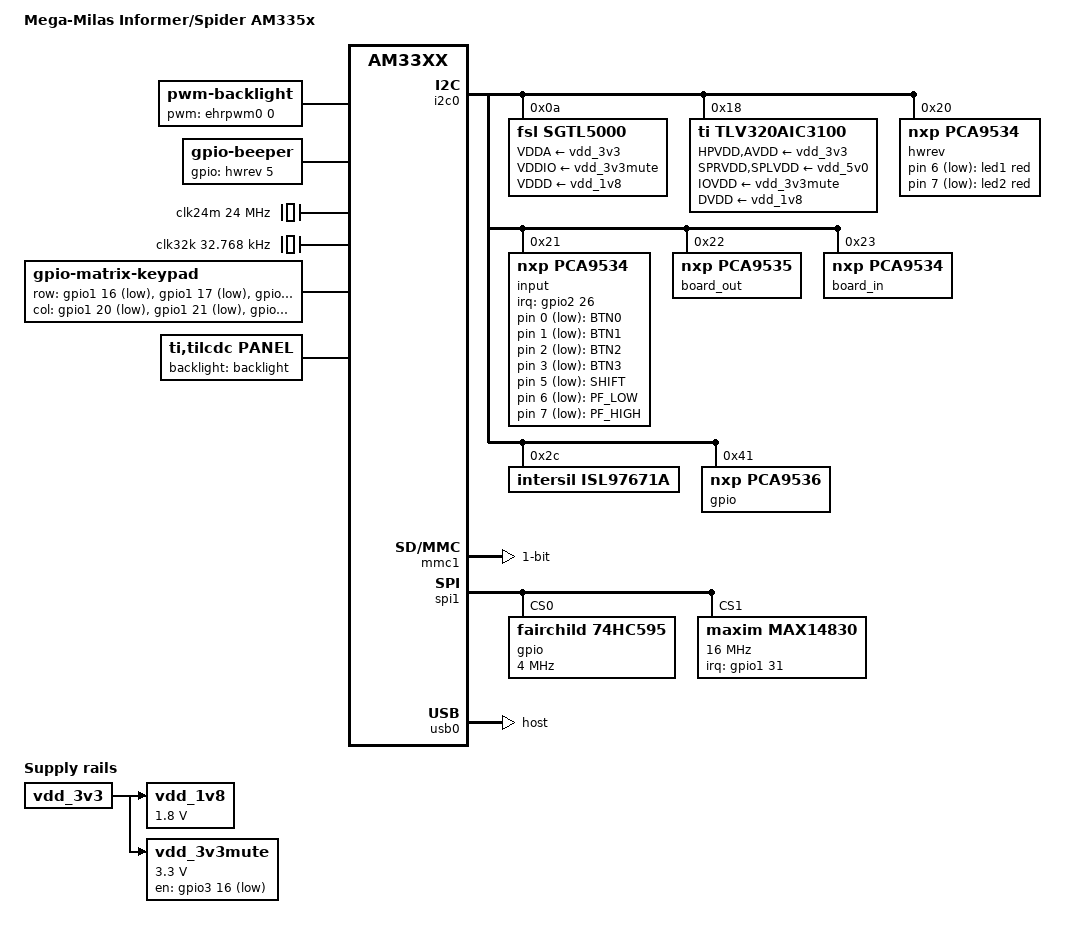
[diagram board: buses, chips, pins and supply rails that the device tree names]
#include <dt-bindings/sound/tlv320aic31xx.h>

/ {
	model = "Mega-Milas Informer/Spider AM335x";
	compatible = "milas,informer-am335x", "milas,spider-am335x",
		     "myir,myd-am335x", "myir,myc-am335x", "ti,am33xx";

	backlight: backlight {
		compatible = "pwm-backlight";
		pwms = <&ehrpwm0 0 100000 0>;
		brightness-levels = <0 255>;
		num-interpolated-steps = <16>;
		default-brightness-level = <0>;
	};

	beeper {
		compatible = "gpio-beeper";
		gpios = <&hwrev 5 GPIO_ACTIVE_HIGH>;
	};

	clk24m: clk24m {
		compatible = "fixed-clock";
		clock-frequency = <24000000>;

		#clock-cells = <0>;
	};

	clk32k: clk32k {
		compatible = "fixed-clock";
		clock-frequency = <32768>;

		#clock-cells = <0>;
	};

	gpio-keys {
		compatible = "gpio-keys";

		/* DOOR1 (SmallIA) */
		/* Call (TalkBox) */
		button@0 {
			label = "BTN0";
			linux,code = <0x0100>;
			linux,input-type = <EV_KEY>;
			gpios = <&input 0 GPIO_ACTIVE_LOW>;
		};

		/* DOOR2 (SmallIA) */
		button@1 {
			label = "BTN1";
			linux,code = <0x0101>;
			linux,input-type = <EV_KEY>;
			gpios = <&input 1 GPIO_ACTIVE_LOW>;
		};

		/* DOOR3 (SmallIA) */
		button@2 {
			label = "BTN2";
			linux,code = <0x0102>;
			linux,input-type = <EV_KEY>;
			gpios = <&input 2 GPIO_ACTIVE_LOW>;
		};

		/* REPEAT (SmallIA) */
		button@3 {
			label = "BTN3";
			linux,code = <0x0103>;
			linux,input-type = <EV_KEY>;
			gpios = <&input 3 GPIO_ACTIVE_LOW>;
		};

		/* 4 - LED output (TalkBox), SOUND_WORLD (Informer) */

		/* SHIFT/REVERSE (Informer) */
		button@5 {
			label = "SHIFT";
			linux,code = <SW_LID>;
			linux,input-type = <EV_SW>;
			gpios = <&input 5 GPIO_ACTIVE_LOW>;
		};

		button@6 {
			label = "PF_LOW";
			linux,code = <SW_TABLET_MODE>;
			linux,input-type = <EV_SW>;
			debounce-interval = <0>;
			gpios = <&input 6 GPIO_ACTIVE_LOW>;
		};

		button@7 {
			label = "PF_HIGH";
			linux,code = <SW_HEADPHONE_INSERT>;
			linux,input-type = <EV_SW>;
			debounce-interval = <0>;
			gpios = <&input 7 GPIO_ACTIVE_LOW>;
		};
	};

	matrix-keypad {
		compatible = "gpio-matrix-keypad";
		pinctrl-names = "default";
		pinctrl-0 = <&mm_keypad_pins_default>;
		debounce-delay-ms = <10>;
		col-scan-delay-us = <50>;
		gpio-activelow;
		wakeup-source;

		row-gpios = <
			&gpio1 16 GPIO_ACTIVE_LOW
			&gpio1 17 GPIO_ACTIVE_LOW
			&gpio1 18 GPIO_ACTIVE_LOW
			&gpio1 19 GPIO_ACTIVE_LOW
		>;

		col-gpios = <
			&gpio1 20 GPIO_ACTIVE_LOW
			&gpio1 21 GPIO_ACTIVE_LOW
			&gpio1 22 GPIO_ACTIVE_LOW
			&gpio1 23 GPIO_ACTIVE_LOW
			&gpio1 24 GPIO_ACTIVE_LOW
			&gpio1 25 GPIO_ACTIVE_LOW
		>;

		linux,keymap = <
			MATRIX_KEY(0,0,0x0200)
			MATRIX_KEY(0,1,0x0201)
			MATRIX_KEY(0,2,0x0202)
			MATRIX_KEY(0,3,0x0203)
			MATRIX_KEY(0,4,0x0204)
			MATRIX_KEY(0,5,0x0205)
			MATRIX_KEY(1,0,0x0210)
			MATRIX_KEY(1,1,0x0211)
			MATRIX_KEY(1,2,0x0212)
			MATRIX_KEY(1,3,0x0213)
			MATRIX_KEY(1,4,0x0214)
			MATRIX_KEY(1,5,0x0215)
			MATRIX_KEY(2,0,0x0220)
			MATRIX_KEY(2,1,0x0221)
			MATRIX_KEY(2,2,0x0222)
			MATRIX_KEY(2,3,0x0223)
			MATRIX_KEY(2,4,0x0224)
			MATRIX_KEY(2,5,0x0225)
			MATRIX_KEY(3,0,0x0230)
			MATRIX_KEY(3,1,0x0231)
			MATRIX_KEY(3,2,0x0232)
			MATRIX_KEY(3,3,0x0233)
			MATRIX_KEY(3,4,0x0234)
			MATRIX_KEY(3,5,0x0235)
		>;
	};

	panel {
		compatible = "ti,tilcdc,panel";
		backlight = <&backlight>;
		status = "okay";

		panel-info {
			ac-bias = <255>;
			ac-bias-intrpt = <0>;
			bpp = <24>;
			dma-burst-sz = <16>;
			fdd = <0x80>;
			sync-edge = <0>;
			sync-ctrl = <1>;
			raster-order = <0>;
			fifo-th = <0>;
			invert-pxl-clk;
		};

		display-timings {
			native-mode = <&timing0>;

			/* G104XVN01 */
			timing0: G104XVN01 {
				clock-frequency = <50000000 65000000 81000000>;
				hactive = <1024>;
				vactive = <768>;
				hback-porch = <320>;
				hfront-porch = <24>;
				hsync-len = <136>;
				vback-porch = <38>;
				vfront-porch = <3>;
				vsync-len = <6>;
				de-active = <1>;
			};

			/* PH320240T, G057QN01 */
			timing1: PH320240T {
				clock-frequency = <6400000>;
				hactive = <320>;
				vactive = <240>;
				hback-porch = <38>;
				hfront-porch = <20>;
				hsync-len = <30>;
				vback-porch = <15>;
				vfront-porch = <5>;
				vsync-len = <1 3 5>;
				hsync-active = <0>;
				vsync-active = <0>;
				de-active = <1>;
			};

			/* AT070TN94 */
			timing2: AT070TN94 {
				clock-frequency = <26400000 33300000 46800000>;
				hactive = <800>;
				vactive = <480>;
				hback-porch = <46>;
				hfront-porch = <16 209 354>;
				hsync-len = <1 1 40>;
				vback-porch = <23>;
				vfront-porch = <7 21 147>;
				vsync-len = <1 1 20>;
				de-active = <1>;
			};
/*
			timing3: PD104SL5 {
				clock-frequency = <33250000>;
				hactive = <800>;
				vactive = <600>;
				hback-porch = <30>;
				hfront-porch = <30>;
				hsync-len = <60>;
				vback-porch = <1>;
				vfront-porch = <1>;
				vsync-len = <2>;
				de-active = <1>;
			};

			timing4: AA192AA01 {
				clock-frequency = <55000000>;
				hactive = <1920>;
				vactive = <360>;
				hback-porch = <210>;
				hfront-porch = <210>;
				hsync-len = <210>;
				vback-porch = <10>;
				vfront-porch = <10>;
				vsync-len = <10>;
				de-active = <1>;
			};
*/
		};
	};

	sound1: sound1 {
		compatible = "simple-audio-card";
		simple-audio-card,format = "i2s";
		simple-audio-card,bitclock-master = <&master_codec1>;
		simple-audio-card,frame-master = <&master_codec1>;
		simple-audio-card,name = "MCASP0AIC3100";
		simple-audio-card,widgets =
			"Microphone", "Microphone Jack",
			"Speaker", "Speaker";
		simple-audio-card,routing =
			"MIC1LP", "Microphone Jack",
			"Microphone Jack", "MICBIAS",
			"Speaker", "SPK";

		simple-audio-card,cpu {
			sound-dai = <&mcasp0>;
		};

		master_codec1: simple-audio-card,codec {
			sound-dai = <&tlv320aic3100>;
		};
	};

	vdd_1v8: vdd_1v8_reg {
		compatible = "regulator-fixed";
		regulator-name = "vdd-1v8";
		regulator-min-microvolt = <1800000>;
		regulator-max-microvolt = <1800000>;
		regulator-always-on;
		regulator-boot-on;
		vin-supply = <&vdd_3v3>;
	};

	vdd_3v3mute: vdd_3v3mute_reg {
		compatible = "regulator-fixed";
		pinctrl-names = "default";
		pinctrl-0 = <&mm_sgtl_pins_default>;
		regulator-name = "vdd-sgtl";
		regulator-min-microvolt = <3300000>;
		regulator-max-microvolt = <3300000>;
		vin-supply = <&vdd_3v3>;
		gpio = <&gpio3 16 GPIO_ACTIVE_LOW>;
	};
};

/delete-node/ &{/clk12m};
/delete-node/ &{/gpio_buttons};

&cpsw_port2 {
	status = "disabled";
};

&i2c0 {
	sgtl5000: codec@a {
		compatible = "fsl,sgtl5000";
		reg =<0xa>;
		clocks = <&clk24m>;
		micbias-resistor-k-ohms = <0>;
		VDDA-supply = <&vdd_3v3>;
		VDDIO-supply = <&vdd_3v3mute>;
		VDDD-supply = <&vdd_1v8>;

		#sound-dai-cells = <0>;
	};

	tlv320aic3100: codec@18 {
		compatible = "ti,tlv320aic3100";
		reg = <0x18>;
		clocks = <&clk24m>;
		ai31xx-micbias-vg = <MICBIAS_2_5V>;
		HPVDD-supply = <&vdd_3v3>;
		SPRVDD-supply = <&vdd_5v0>;
		SPLVDD-supply = <&vdd_5v0>;
		AVDD-supply = <&vdd_3v3>;
		IOVDD-supply = <&vdd_3v3mute>;
		DVDD-supply = <&vdd_1v8>;

		#sound-dai-cells = <0>;
	};

	hwrev: gpio@20 {
		/* HW Revision */
		compatible = "nxp,pca9534";
		reg = <0x20>;
		gpio-controller;

		#gpio-cells = <2>;
	};

	input: gpio@21 {
		pinctrl-names = "default";
		pinctrl-0 = <&mm_inputgpio_pins>;
		compatible = "nxp,pca9534";
		reg = <0x21>;
		gpio-controller;
		interrupt-parent = <&gpio2>;
		interrupts = <26 IRQ_TYPE_EDGE_BOTH>;
		interrupt-controller;

		#gpio-cells = <2>;
		#interrupt-cells = <2>;
	};

	board_out: gpio@22 {
		compatible = "nxp,pca9535";
		reg = <0x22>;
		gpio-controller;

		#gpio-cells = <2>;
	};

	board_in: gpio@23 {
		pinctrl-names = "default";
		pinctrl-0 = <&mm_boardingpio_pins>;
		compatible = "nxp,pca9534";
		reg = <0x23>;
		gpio-controller;
		interrupt-parent = <&intc>;
		interrupts = <7>; /* NMI */
		interrupt-controller;

		#gpio-cells = <2>;
		#interrupt-cells = <2>;
	};

	isl97671a@2c {
		compatible = "intersil,isl97671a";
		reg = <0x2c>;
	};

	gpio@41 {
		/* Display ID */
		compatible = "nxp,pca9536";
		reg = <0x41>;
		gpio-controller;
		
		#gpio-cells = <2>;
	};
};

&i2c1 {
	status = "disabled";
	/delete-node/ sgtl5000@a;
	/delete-node/ tda9988@70;
};

&lcdc {
	blue-and-red-wiring = "crossed";
};

&lcdc_0 {
	remote-endpoint = <0>;
};

&led_mod {
	function = LED_FUNCTION_HEARTBEAT;
	linux,default-trigger = LED_FUNCTION_HEARTBEAT;
};

&led1 {
	gpios = <&hwrev 6 GPIO_ACTIVE_LOW>;
	color = <LED_COLOR_ID_RED>;
	function = LED_FUNCTION_MTD;
	linux,default-trigger = LED_FUNCTION_MTD;
};

&led2 {
	gpios = <&hwrev 7 GPIO_ACTIVE_LOW>;
	color = <LED_COLOR_ID_RED>;
	function = LED_FUNCTION_USB;
	linux,default-trigger = "usb-host";
};

&leds {
	pinctrl-0 = <&led_mod_pins>;
};

&mac_sw {
	pinctrl-0 = <&eth_slave1_pins_default>;
	pinctrl-1 = <&eth_slave1_pins_sleep>;
};

&master_codec {
	sound-dai = <&sgtl5000>;
};

&mmc1 {
	pinctrl-names = "default";
	pinctrl-0 = <&mm_mmc1_pins_default>;
	bus-width = <1>;
	/delete-property/ cd-gpios;
};

&nand0 {
	ti,nand-xfer-type = "prefetch-dma";
};

&sound {
	simple-audio-card,name = "MCASP0SGTL5000";
	/delete-node/ simple-audio-card,codec@2;
};

&spi1 {
	pinctrl-names = "default";
	pinctrl-0 = <&mm_spi1_pins>;
	status = "okay";

	gpio@0 {
		compatible = "fairchild,74hc595";
		reg = <0>;
		spi-max-frequency = <4000000>;
		registers-number = <2>;
		gpio-controller;
		#gpio-cells = <2>;
	};

	max14830@1 {
		pinctrl-names = "default";
		pinctrl-0 = <&mm_max14830_pins_default>;
		compatible = "maxim,max14830";
		reg = <1>;
		spi-max-frequency = <16000000>;
		clocks = <&clk24m>;
		clock-names = "osc";
		interrupt-parent = <&gpio1>;
		interrupts = <31 IRQ_TYPE_EDGE_FALLING>;
	};
};

&tscadc {
	status = "disabled";
};

&uart1 {
	/delete-property/ dmas;
	/delete-property/ dma-names;
	/delete-property/ linux,rs485-enabled-at-boot-time;
};

&uart2 {
	status = "disabled";
};

&usb0 {
	dr_mode = "host";
};

&usb1 {
	status = "disabled";
};

&usb1_phy {
	status = "disabled";
};

&wdt2 {
	timeout-sec = <10>;
};

&am33xx_pinmux {
	mm_boardingpio_pins: pinmux_mm_boardingpio_pins {
		pinctrl-single,pins = <
			AM33XX_PADCONF(AM335X_PIN_NNMI, PIN_INPUT_PULLUP, MUX_MODE0)	/* nNMI */
		>;
	};

	mm_keypad_pins_default: pinmux_mm_keypad_pins_default {
		pinctrl-single,pins = <
			AM33XX_PADCONF(AM335X_PIN_GPMC_A0, PIN_INPUT_PULLUP, MUX_MODE7)		/*  gpio1[16] */
			AM33XX_PADCONF(AM335X_PIN_GPMC_A1, PIN_INPUT_PULLUP, MUX_MODE7)		/*  gpio1[17] */
			AM33XX_PADCONF(AM335X_PIN_GPMC_A2, PIN_INPUT_PULLUP, MUX_MODE7)		/*  gpio1[18] */
			AM33XX_PADCONF(AM335X_PIN_GPMC_A3, PIN_INPUT_PULLUP, MUX_MODE7)		/*  gpio1[19] */
			AM33XX_PADCONF(AM335X_PIN_GPMC_A4, PIN_INPUT_PULLUP, MUX_MODE7)		/*  gpio1[20] */
			AM33XX_PADCONF(AM335X_PIN_GPMC_A5, PIN_INPUT_PULLUP, MUX_MODE7)		/*  gpio1[21] */
			AM33XX_PADCONF(AM335X_PIN_GPMC_A6, PIN_INPUT_PULLUP, MUX_MODE7)		/*  gpio1[22] */
			AM33XX_PADCONF(AM335X_PIN_GPMC_A7, PIN_INPUT_PULLUP, MUX_MODE7)		/*  gpio1[23] */
			AM33XX_PADCONF(AM335X_PIN_GPMC_A8, PIN_INPUT_PULLUP, MUX_MODE7)		/*  gpio1[24] */
			AM33XX_PADCONF(AM335X_PIN_GPMC_A9, PIN_INPUT_PULLUP, MUX_MODE7)		/*  gpio1[25] */
		>;
	};

	mm_max14830_pins_default: pinmux_mm_max14830_pins_default {
		pinctrl-single,pins = <
			AM33XX_PADCONF(AM335X_PIN_GPMC_CSN2, PIN_INPUT_PULLUP, MUX_MODE7)	/*  gpio1[31] */
		>;
	};

	mm_mmc1_pins_default: pinmux_mm_mmc1_pins_default {
		pinctrl-single,pins = <
			AM33XX_PADCONF(AM335X_PIN_MMC0_DAT0, PIN_INPUT_PULLUP, MUX_MODE0)	/* mmc0_dat0 */
			AM33XX_PADCONF(AM335X_PIN_MMC0_CLK, PIN_INPUT_PULLUP, MUX_MODE0)	/* mmc0_clk */
			AM33XX_PADCONF(AM335X_PIN_MMC0_CMD, PIN_INPUT_PULLUP, MUX_MODE0)	/* mmc0_cmd */
		>;
	};

	mm_inputgpio_pins: pinmux_mm_inputgpio_pins {
		pinctrl-single,pins = <
			AM33XX_PADCONF(AM335X_PIN_MMC0_DAT3, PIN_INPUT_PULLUP, MUX_MODE7)	/* gpio2[26] */
		>;
	};

	mm_sgtl_pins_default: pinmux_mm_sgtl_pins_default {
		pinctrl-single,pins = <
			AM33XX_PADCONF(AM335X_PIN_MCASP0_AXR0, PIN_OUTPUT_PULLUP, MUX_MODE7)	/* gpio3[16] */
		>;
	};

	mm_spi1_pins: pinmux_spi1_pins {
		pinctrl-single,pins = <
			AM33XX_PADCONF(AM335X_PIN_RMII1_REF_CLK, PIN_OUTPUT, MUX_MODE2)		/* spi1_cs0_mux1 */
			AM33XX_PADCONF(AM335X_PIN_XDMA_EVENT_INTR0, PIN_OUTPUT, MUX_MODE4)	/* spi1_cs1_mux2 */
			AM33XX_PADCONF(AM335X_PIN_MII1_COL, PIN_INPUT_PULLUP, MUX_MODE2)	/* spi1_sclk_mux1 */
			AM33XX_PADCONF(AM335X_PIN_MII1_RX_ER, PIN_OUTPUT, MUX_MODE2)		/* spi1_d1_mux1 */
			AM33XX_PADCONF(AM335X_PIN_MII1_CRS, PIN_INPUT, MUX_MODE2)		/* spi1_d0_mux1 */
		>;
	};
};
